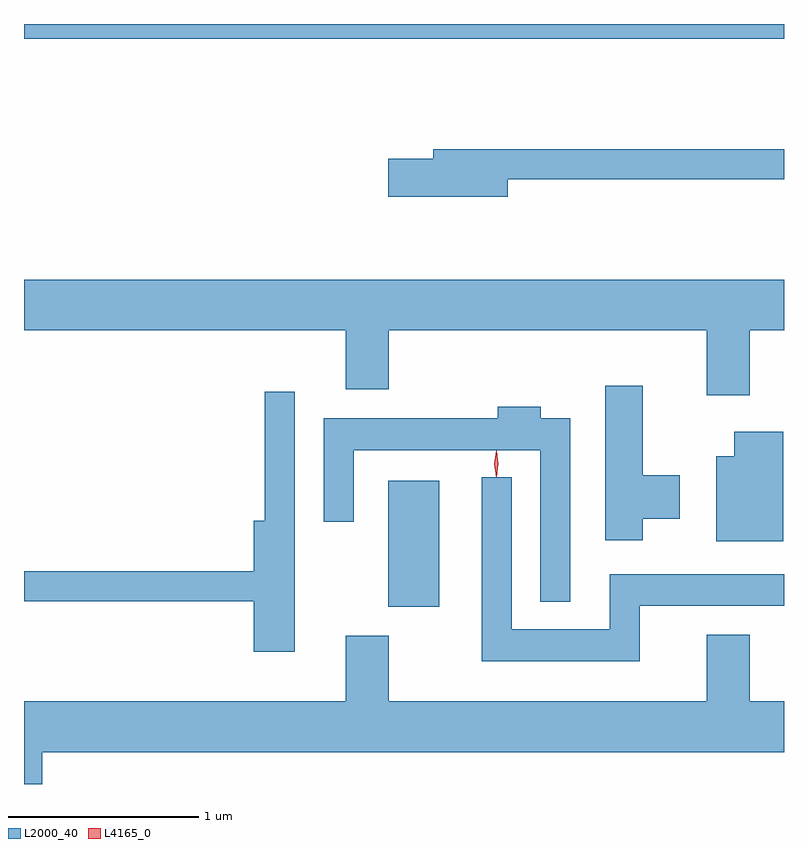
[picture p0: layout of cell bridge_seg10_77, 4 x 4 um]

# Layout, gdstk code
import gdstk
lib = gdstk.Library(unit=1e-6, precision=1e-09)
def R(c, l, rs):  # rectangles x0, y0, x1, y1
    for r in rs: c.add(gdstk.rectangle(r[:2], r[2:], *l))
def P(c, l, *ps):  # polygons
    for p in ps: c.add(gdstk.Polygon(p, *l))
L2000_40 = (2000, 40)
L4165_0 = (4165, 0)

bridge_seg10_77 = lib.new_cell('bridge_seg10_77')
R(bridge_seg10_77, L2000_40, [(1583.896,2194.601,1584.164,2195.264), (1581.978,2197.591,1585.978,2197.669)])
P(bridge_seg10_77, L2000_40, [(1584.524,2196.851),(1585.978,2196.851),(1585.978,2197.009),(1584.131,2197.009),(1584.131,2196.959),(1583.896,2196.959),(1583.896,2196.761),(1584.524,2196.761)],
  [(1585.799,2196.056),(1585.978,2196.056),(1585.978,2196.324),(1581.978,2196.324),(1581.978,2196.056),(1583.671,2196.056),(1583.671,2195.746),(1583.899,2195.746),(1583.899,2196.056),(1585.571,2196.056),(1585.571,2195.716),(1585.799,2195.716)],
  [(1585.234,2195.066),(1585.429,2195.066),(1585.429,2195.294),(1585.234,2195.294),(1585.234,2195.764),(1585.036,2195.764),(1585.036,2194.951),(1585.234,2194.951)],
  [(1583.404,2195.733),(1583.246,2195.733),(1583.246,2195.054),(1583.186,2195.054),(1583.186,2194.789),(1581.978,2194.789),(1581.978,2194.631),(1583.186,2194.631),(1583.186,2194.366),(1583.404,2194.366)],
  [(1584.854,2195.594),(1584.699,2195.594),(1584.699,2195.654),(1584.471,2195.654),(1584.471,2195.594),(1583.556,2195.594),(1583.556,2195.048),(1583.714,2195.048),(1583.714,2195.426),(1584.696,2195.426),(1584.696,2194.628),(1584.854,2194.628)],
  [(1585.974,2195.524),(1585.716,2195.524),(1585.716,2195.394),(1585.621,2195.394),(1585.621,2194.946),(1585.974,2194.946)],
  [(1585.219,2194.606),(1585.978,2194.606),(1585.978,2194.774),(1585.061,2194.774),(1585.061,2194.484),(1584.544,2194.484),(1584.544,2195.283),(1584.386,2195.283),(1584.386,2194.316),(1585.219,2194.316)],
  [(1582.074,2193.836),(1585.978,2193.836),(1585.978,2194.104),(1585.799,2194.104),(1585.799,2194.454),(1585.571,2194.454),(1585.571,2194.104),(1583.899,2194.104),(1583.899,2194.449),(1583.671,2194.449),(1583.671,2194.104),(1581.978,2194.104),(1581.978,2193.669),(1582.074,2193.669)])
P(bridge_seg10_77, L4165_0, [(1584.464,2195.284),(1584.464,2195.284),(1584.454,2195.354),(1584.464,2195.422),(1584.464,2195.423),(1584.465,2195.422),(1584.474,2195.354),(1584.465,2195.284)],
  [(1584.463,2195.287),(1584.454,2195.354),(1584.463,2195.42),(1584.464,2195.42),(1584.464,2195.42),(1584.473,2195.354),(1584.464,2195.287),(1584.464,2195.287)])

lib.write_gds('bridge_seg10_77.gds')
